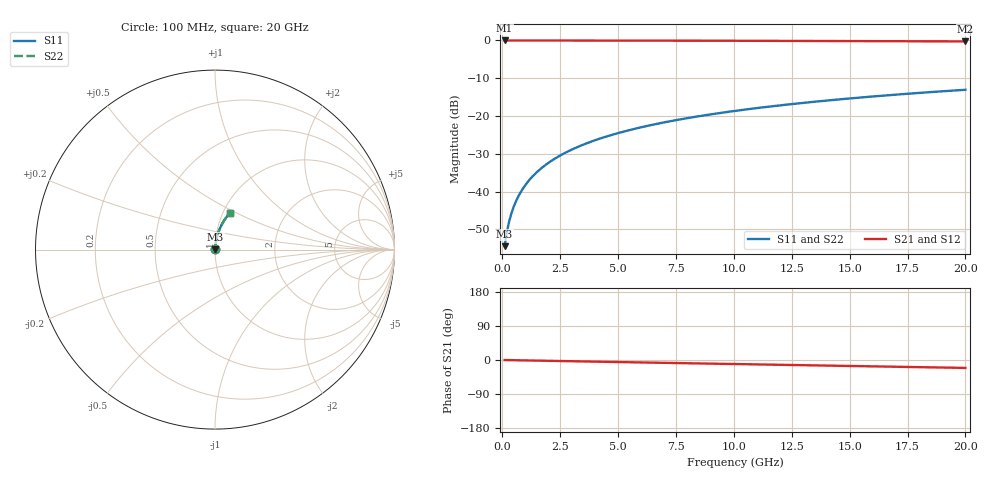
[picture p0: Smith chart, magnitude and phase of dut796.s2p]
! Touchstone file exported from HFSS 2026.1.0
!  File:  C:/ffzhzh/LocalFiles/Ansys_Project_Files/temp_train_TMRDL_796_1783156032_18472.aedt
!  Generated:  05:08:23 PM Jul  4, 2026
!  Design:  TMRDL
!  Project:  temp_train_TMRDL_796_1783156032_18472
! Variables:
!  h_bsmrdl = 2um
!  h_ox = 20um
!  h_rdl = 5um
!  h_sub = 80um
!  h_tmrdl = 3.72um
!  h_tsv = 80um
!  h_via = 3um
!  l_bsmrdl = 300um
!  l_sub = 656.45um
!  l_tmrdl = 256.45um
!  m_sub = 200um
!  pitch = 50.12um
!  r_tsv = 6um
!  s_tmrdl = 10um
!  w_bsmrdl = 18um
!  w_sub = 500um
!  w_tmrdl = 20.49um
!  x_tsv_center1 = 266.695um
!  x_tsv_center2 = 584.695um
!  x_tsv_center3 = 861.635um
!  x_tsv_center4 = 1179.635um
!  x_tsv_center5 = 1456.575um
!  x_tsv_center6 = 1774.575um
# GHz S MA R 50.000000
! Terminal data exported
! Port[1] = TM_RDL1_1_T1
! Port[2] = TM_RDL1_1_T2
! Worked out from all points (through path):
!   200 points, 100 MHz to 20 GHz, reference 50 ohm
!   highest |S21| = -0.01 dB at 100 MHz (marker M1); lowest = -0.3 dB at 20 GHz (marker M2)
!   group delay of S21, straight-line fit = 2.9 ps
!   lowest |S11| = -54.5 dB at 100 MHz (marker M3), VSWR 1.00, Z = 50.1 + j0.129 ohm
!   |S11| at or under -10 dB: start of sweep to end of sweep
!   |S22| runs from -54.5 to -13.1 dB; largest |S21 - S12| = 3.2e-15
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0.1  0.001892 42.7  0.9986 -0.1  0.9986 -0.1  0.001892 42.7
! Gamma 0 0 0 0
! Port Impedance 50 0 50 0
0.2  0.002926 60.3  0.9986 -0.2  0.9986 -0.2  0.002926 60.3
0.3  0.004062 67.9  0.9985 -0.3  0.9985 -0.3  0.004062 67.9
0.4  0.005216 72.2  0.9984 -0.4  0.9984 -0.4  0.005216 72.2
0.5  0.006376 74.9  0.9984 -0.6  0.9984 -0.6  0.006375 74.9
0.6  0.007539 76.8  0.9983 -0.7  0.9983 -0.7  0.007538 76.8
0.8  0.009877 79.3  0.9983 -0.9  0.9983 -0.9  0.009876 79.3
1.1  0.01341 81.3  0.9982 -1.2  0.9982 -1.2  0.01341 81.3
1.5  0.01814 82.6  0.998 -1.6  0.998 -1.6  0.01814 82.6
1.8  0.02169 83.1  0.9979 -2.0  0.9979 -2.0  0.02169 83.1
2.1  0.02525 83.4  0.9978 -2.3  0.9978 -2.3  0.02525 83.4
2.7  0.03236 83.5  0.9975 -2.9  0.9975 -2.9  0.03236 83.5
3.5  0.0418 83.2  0.9969 -3.8  0.9969 -3.8  0.0418 83.2
4.2  0.05001 82.7  0.9963 -4.5  0.9963 -4.5  0.05001 82.7
5  0.05933 82.0  0.9956 -5.4  0.9956 -5.4  0.05933 82.1
5.9  0.06975 81.3  0.9947 -6.4  0.9947 -6.4  0.06975 81.3
6.8  0.08008 80.4  0.9936 -7.3  0.9936 -7.3  0.08008 80.4
8.3  0.09711 79.0  0.9917 -8.9  0.9917 -8.9  0.09711 79.0
10.1  0.1173 77.2  0.989 -10.8  0.989 -10.8  0.1173 77.3
13.4  0.1534 74.0  0.9834 -14.2  0.9834 -14.2  0.1534 74.1
16.7  0.1885 70.8  0.9768 -17.6  0.9768 -17.6  0.1885 70.8
20  0.2223 67.6  0.9692 -20.9  0.9692 -20.9  0.2223 67.7
